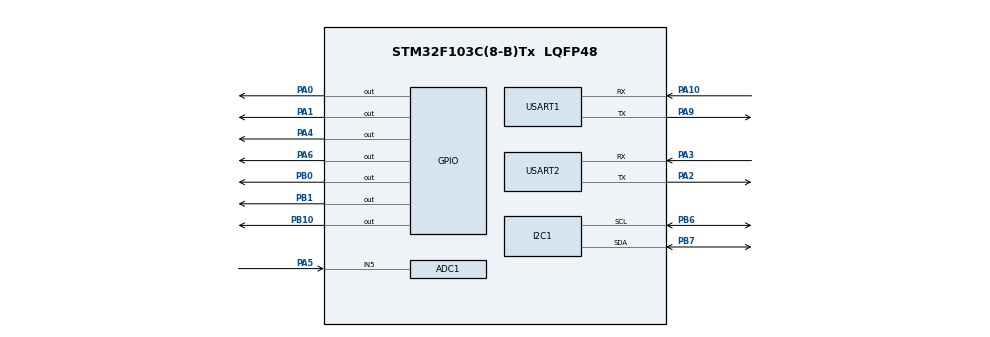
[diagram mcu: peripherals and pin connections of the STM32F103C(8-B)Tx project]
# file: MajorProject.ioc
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ADC1.Channel-0\#ChannelRegularConversion=ADC_CHANNEL_5
ADC1.NbrOfConversionFlag=1
ADC1.Rank-0\#ChannelRegularConversion=1
ADC1.SamplingTime-0\#ChannelRegularConversion=ADC_SAMPLETIME_1CYCLE_5
ADC1.master=1
Mcu.Family=STM32F1
Mcu.Name=STM32F103C(8-B)Tx
Mcu.Package=LQFP48
NVIC.PriorityGroup=NVIC_PRIORITYGROUP_4
PA0-WKUP.Signal=GPIO_Output
PA1.Signal=GPIO_Output
PA10.Mode=Asynchronous
PA10.Signal=USART1_RX
PA2.Mode=Asynchronous
PA2.Signal=USART2_TX
PA3.Mode=Asynchronous
PA3.Signal=USART2_RX
PA4.Signal=GPIO_Output
PA5.Signal=ADCx_IN5
PA6.Signal=GPIO_Output
PA9.Mode=Asynchronous
PA9.Signal=USART1_TX
PB0.Signal=GPIO_Output
PB1.Signal=GPIO_Output
PB10.Signal=GPIO_Output
PB6.Mode=I2C
PB6.Signal=I2C1_SCL
PB7.Mode=I2C
PB7.Signal=I2C1_SDA
ProjectManager.HeapSize=0x200
ProjectManager.StackSize=0x400
ProjectManager.TargetToolchain=STM32CubeIDE
RCC.APB1Freq_Value=8000000
RCC.APB2Freq_Value=8000000
SH.ADCx_IN5.0=ADC1_IN5,IN5
USART1.VirtualMode=VM_ASYNC
USART2.VirtualMode=VM_ASYNC
VP_SYS_VS_ND.Mode=No_Debug
board=custom

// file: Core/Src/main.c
/* USER CODE BEGIN Header */
/**
  ******************************************************************************
  * @file           : main.c
  * @brief          : Main program body
  ******************************************************************************
  * @attention
  *
  * Copyright (c) 2026 STMicroelectronics.
  * All rights reserved.
  *
  * This software is licensed under terms that can be found in the LICENSE file
  * in the root directory of this software component.
  * If no LICENSE file comes with this software, it is provided AS-IS.
  *
  ******************************************************************************
  */
/* USER CODE END Header */
#include "main.h"

/* USER CODE BEGIN Includes */
#include <stdio.h>
#include <string.h>
#include <stdlib.h>
#include <math.h>
/* USER CODE END Includes */

ADC_HandleTypeDef hadc1;

I2C_HandleTypeDef hi2c1;

UART_HandleTypeDef huart1;
UART_HandleTypeDef huart2;

/* USER CODE BEGIN PV */
char txbuf[512];
uint8_t gps_rx;
char gps_line[128];
uint8_t gps_idx = 0;
volatile uint8_t gps_line_ready = 0; // NEW: Flag for main loop

float lat = 0.0f;
float lon = 0.0f;

uint8_t started = 0;
float values[16];
float bmp_temp = 0.0f;
float bmp_press = 0.0f;

float ax=0, ay=0, az=0;
float gx=0, gy=0, gz=0;
/* USER CODE END PV */

void SystemClock_Config(void);
static void MX_GPIO_Init(void);
static void MX_ADC1_Init(void);
static void MX_USART1_UART_Init(void);
static void MX_USART2_UART_Init(void);
static void MX_I2C1_Init(void);

/* USER CODE BEGIN 0 */
void set_mux(uint8_t ch)
{
    HAL_GPIO_WritePin(GPIOA, GPIO_PIN_0, (ch & 1)?GPIO_PIN_SET:GPIO_PIN_RESET);
    HAL_GPIO_WritePin(GPIOA, GPIO_PIN_1, (ch & 2)?GPIO_PIN_SET:GPIO_PIN_RESET);
    HAL_GPIO_WritePin(GPIOA, GPIO_PIN_4, (ch & 4)?GPIO_PIN_SET:GPIO_PIN_RESET);
    HAL_GPIO_WritePin(GPIOA, GPIO_PIN_6, (ch & 8)?GPIO_PIN_SET:GPIO_PIN_RESET);
}

// SAFE GPS PARSER
void parse_gps(void)
{
    if (strncmp(gps_line, "$GPRMC", 6) == 0 || strncmp(gps_line, "GPRMC", 5) == 0)
    {
        int comma_count = 0;
        char *p = gps_line;
        char lats[16] = {0}, lons[16] = {0};
        char ns = 'N', ew = 'E';

        while (*p)
        {
            if (*p == ',')
            {
                comma_count++;
                p++;
                if (comma_count == 3)
                {
                    int i = 0;
                    while (*p != ',' && *p != '\0' && i < 15) lats[i++] = *p++;
                    lats[i] = '\0';
                    continue;
                }
                else if (comma_count == 4 && *p != ',') ns = *p;
                else if (comma_count == 5)
                {
                    int i = 0;
                    while (*p != ',' && *p != '\0' && i < 15) lons[i++] = *p++;
                    lons[i] = '\0';
                    continue;
                }
                else if (comma_count == 6 && *p != ',') ew = *p;
            }
            else
            {
                p++;
            }
        }

        if (strlen(lats) > 0 && strlen(lons) > 0)
        {
            float raw = atof(lats);
            int deg = (int)(raw / 100);
            float mins = raw - deg * 100;
            lat = deg + mins / 60.0f;
            if (ns == 'S') lat = -lat;

            raw = atof(lons);
            deg = (int)(raw / 100);
            mins = raw - deg * 100;
            lon = deg + mins / 60.0f;
            if (ew == 'W') lon = -lon;
        }
    }
}

#define BMP280_ADDR (0x76 << 1)
#define MPU6050_ADDR (0x68 << 1)

uint16_t dig_T1;
int16_t dig_T2, dig_T3;
uint16_t dig_P1;
int16_t dig_P2, dig_P3, dig_P4, dig_P5, dig_P6, dig_P7, dig_P8, dig_P9;
int32_t t_fine;

void BMP280_Init()
{
    uint8_t cal[24];

    HAL_I2C_Mem_Read(&hi2c1, BMP280_ADDR, 0x88, 1, cal, 24, 100);

    dig_T1 = cal[1]<<8 | cal[0];
    dig_T2 = cal[3]<<8 | cal[2];
    dig_T3 = cal[5]<<8 | cal[4];

    dig_P1 = cal[7]<<8 | cal[6];
    dig_P2 = cal[9]<<8 | cal[8];
    dig_P3 = cal[11]<<8 | cal[10];
    dig_P4 = cal[13]<<8 | cal[12];
    dig_P5 = cal[15]<<8 | cal[14];
    dig_P6 = cal[17]<<8 | cal[16];
    dig_P7 = cal[19]<<8 | cal[18];
    dig_P8 = cal[21]<<8 | cal[20];
    dig_P9 = cal[23]<<8 | cal[22];

    uint8_t ctrl = 0x27;
    HAL_I2C_Mem_Write(&hi2c1, BMP280_ADDR, 0xF4, 1, &ctrl, 1, 100);
}

void BMP280_ReadTempPress(float *temp, float *press)
{
    uint8_t d[6];

    HAL_I2C_Mem_Read(&hi2c1, BMP280_ADDR, 0xF7, 1, d, 6, 100);

    int32_t adc_P = ((d[0]<<12)|(d[1]<<4)|(d[2]>>4));
    int32_t adc_T = ((d[3]<<12)|(d[4]<<4)|(d[5]>>4));

    int32_t var1, var2;

    var1 = ((((adc_T>>3) - ((int32_t)dig_T1<<1))) * ((int32_t)dig_T2)) >> 11;
    var2 = (((((adc_T>>4) - ((int32_t)dig_T1)) *
             ((adc_T>>4) - ((int32_t)dig_T1))) >> 12) *
             ((int32_t)dig_T3)) >> 14;

    t_fine = var1 + var2;

    float T = (t_fine * 5 + 128) >> 8;
    *temp = T / 100.0f;

    int64_t pvar1, pvar2, p;

    pvar1 = ((int64_t)t_fine) - 128000;
    pvar2 = pvar1 * pvar1 * dig_P6;
    pvar2 += (pvar1 * dig_P5) << 17;
    pvar2 += ((int64_t)dig_P4) << 35;

    pvar1 = ((pvar1 * pvar1 * dig_P3) >> 8) +
            ((pvar1 * dig_P2) << 12);

    pvar1 = ((((int64_t)1 << 47) + pvar1)) * dig_P1 >> 33;

    if(pvar1 == 0)
    {
        *press = 0;
        return;
    }

    p = 1048576 - adc_P;
    p = (((p << 31) - pvar2) * 3125) / pvar1;

    pvar1 = (dig_P9 * (p >> 13) * (p >> 13)) >> 25;
    pvar2 = (dig_P8 * p) >> 19;

    p = ((p + pvar1 + pvar2) >> 8) + (((int64_t)dig_P7) << 4);

    *press = (float)p / 25600.0f;
}

void MPU6050_Init()
{
    uint8_t val = 0;
    HAL_I2C_Mem_Write(&hi2c1, MPU6050_ADDR, 0x6B, 1, &val, 1, 100);
}

void MPU6050_Read(float *ax,float *ay,float *az,float *gx,float *gy,float *gz)
{
    uint8_t d[14];

    HAL_I2C_Mem_Read(&hi2c1, MPU6050_ADDR, 0x3B, 1, d, 14, 100);

    int16_t raX = (d[0]<<8)|d[1];
    int16_t raY = (d[2]<<8)|d[3];
    int16_t raZ = (d[4]<<8)|d[5];

    int16_t rgX = (d[8]<<8)|d[9];
    int16_t rgY = (d[10]<<8)|d[11];
    int16_t rgZ = (d[12]<<8)|d[13];

    *ax = raX / 16384.0f;
    *ay = raY / 16384.0f;
    *az = raZ / 16384.0f;

    *gx = rgX / 131.0f;
    *gy = rgY / 131.0f;
    *gz = rgZ / 131.0f;
}
/* USER CODE END 0 */

int main(void)
{

  /* MCU Configuration--------------------------------------------------------*/

  /* Reset of all peripherals, Initializes the Flash interface and the Systick. */
  HAL_Init();

  /* Configure the system clock */
  SystemClock_Config();

  /* Initialize all configured peripherals */
  MX_GPIO_Init();
  MX_ADC1_Init();
  MX_USART1_UART_Init();
  MX_USART2_UART_Init();
  MX_I2C1_Init();
  /* USER CODE BEGIN 2 */
  MPU6050_Init();
  BMP280_Init();
  HAL_GPIO_WritePin(GPIOB,GPIO_PIN_0,GPIO_PIN_RESET);
  HAL_GPIO_WritePin(GPIOB,GPIO_PIN_1,GPIO_PIN_RESET);
  HAL_GPIO_WritePin(GPIOB,GPIO_PIN_10,GPIO_PIN_RESET);

  // START BACKGROUND GPS LISTENING
  HAL_UART_Receive_IT(&huart2, &gps_rx, 1);
  /* USER CODE END 2 */

  /* Infinite loop */
  /* USER CODE BEGIN WHILE */
  while (1)
  {
      if(started == 0)
      {
          HAL_GPIO_WritePin(GPIOB,GPIO_PIN_0,GPIO_PIN_SET); // Pump ON
          HAL_Delay(4000);

          HAL_GPIO_WritePin(GPIOB,GPIO_PIN_0,GPIO_PIN_RESET); // Pump OFF
          HAL_GPIO_WritePin(GPIOB,GPIO_PIN_1,GPIO_PIN_SET);   // Light ON
          HAL_GPIO_WritePin(GPIOB,GPIO_PIN_10,GPIO_PIN_SET);  // MUX ON

          started = 1;
      }
      BMP280_ReadTempPress(&bmp_temp,&bmp_press);
      MPU6050_Read(&ax,&ay,&az,&gx,&gy,&gz);

      // ONLY parse if interrupt says a full line is ready
      if (gps_line_ready == 1)
      {
          parse_gps();
          gps_line_ready = 0; // Reset flag
      }

      for(int ch=0; ch<16; ch++)
      {
          set_mux(ch);

          HAL_Delay(20);

          HAL_ADC_Start(&hadc1);
          HAL_ADC_PollForConversion(&hadc1,100);

          values[ch] = HAL_ADC_GetValue(&hadc1);
      }

      sprintf(txbuf,
      "T=%.2f,P=%.1f,AX=%.2f,AY=%.2f,AZ=%.2f,GX=%.2f,GY=%.2f,GZ=%.2f,LAT=%.6f,LON=%.6f,"
      "%.0f,%.0f,%.0f,%.0f,%.0f,%.0f,%.0f,%.0f,"
      "%.0f,%.0f,%.0f,%.0f,%.0f,%.0f,%.0f,%.0f\r\n",

      bmp_temp,bmp_press,
      ax,ay,az,gx,gy,gz,
      lat,lon,

      values[0],values[1],values[2],values[3],
      values[4],values[5],values[6],values[7],
      values[8],values[9],values[10],values[11],
      values[12],values[13],values[14],values[15]);

      HAL_UART_Transmit(&huart1,(uint8_t*)txbuf,strlen(txbuf),100);

      HAL_Delay(500);
  }
  /* USER CODE END 3 */
}

void SystemClock_Config(void)
{
  RCC_OscInitTypeDef RCC_OscInitStruct = {0};
  RCC_ClkInitTypeDef RCC_ClkInitStruct = {0};
  RCC_PeriphCLKInitTypeDef PeriphClkInit = {0};

  /** Initializes the RCC Oscillators according to the specified parameters
  * in the RCC_OscInitTypeDef structure.
  */
  RCC_OscInitStruct.OscillatorType = RCC_OSCILLATORTYPE_HSI;
  RCC_OscInitStruct.HSIState = RCC_HSI_ON;
  RCC_OscInitStruct.HSICalibrationValue = RCC_HSICALIBRATION_DEFAULT;
  RCC_OscInitStruct.PLL.PLLState = RCC_PLL_NONE;
  if (HAL_RCC_OscConfig(&RCC_OscInitStruct) != HAL_OK)
  {
    Error_Handler();
  }

  /** Initializes the CPU, AHB and APB buses clocks
  */
  RCC_ClkInitStruct.ClockType = RCC_CLOCKTYPE_HCLK|RCC_CLOCKTYPE_SYSCLK
                              |RCC_CLOCKTYPE_PCLK1|RCC_CLOCKTYPE_PCLK2;
  RCC_ClkInitStruct.SYSCLKSource = RCC_SYSCLKSOURCE_HSI;
  RCC_ClkInitStruct.AHBCLKDivider = RCC_SYSCLK_DIV1;
  RCC_ClkInitStruct.APB1CLKDivider = RCC_HCLK_DIV1;
  RCC_ClkInitStruct.APB2CLKDivider = RCC_HCLK_DIV1;

  if (HAL_RCC_ClockConfig(&RCC_ClkInitStruct, FLASH_LATENCY_0) != HAL_OK)
  {
    Error_Handler();
  }
  PeriphClkInit.PeriphClockSelection = RCC_PERIPHCLK_ADC;
  PeriphClkInit.AdcClockSelection = RCC_ADCPCLK2_DIV2;
  if (HAL_RCCEx_PeriphCLKConfig(&PeriphClkInit) != HAL_OK)
  {
    Error_Handler();
  }
}

static void MX_ADC1_Init(void)
{

  ADC_ChannelConfTypeDef sConfig = {0};

  /** Common config
  */
  hadc1.Instance = ADC1;
  hadc1.Init.ScanConvMode = ADC_SCAN_DISABLE;
  hadc1.Init.ContinuousConvMode = DISABLE;
  hadc1.Init.DiscontinuousConvMode = DISABLE;
  hadc1.Init.ExternalTrigConv = ADC_SOFTWARE_START;
  hadc1.Init.DataAlign = ADC_DATAALIGN_RIGHT;
  hadc1.Init.NbrOfConversion = 1;
  if (HAL_ADC_Init(&hadc1) != HAL_OK)
  {
    Error_Handler();
  }

  /** Configure Regular Channel
  */
  sConfig.Channel = ADC_CHANNEL_5;
  sConfig.Rank = ADC_REGULAR_RANK_1;
  sConfig.SamplingTime = ADC_SAMPLETIME_55CYCLES_5;
  if (HAL_ADC_ConfigChannel(&hadc1, &sConfig) != HAL_OK)
  {
    Error_Handler();
  }

}

static void MX_I2C1_Init(void)
{

  hi2c1.Instance = I2C1;
  hi2c1.Init.ClockSpeed = 100000;
  hi2c1.Init.DutyCycle = I2C_DUTYCYCLE_2;
  hi2c1.Init.OwnAddress1 = 0;
  hi2c1.Init.AddressingMode = I2C_ADDRESSINGMODE_7BIT;
  hi2c1.Init.DualAddressMode = I2C_DUALADDRESS_DISABLE;
  hi2c1.Init.OwnAddress2 = 0;
  hi2c1.Init.GeneralCallMode = I2C_GENERALCALL_DISABLE;
  hi2c1.Init.NoStretchMode = I2C_NOSTRETCH_DISABLE;
  if (HAL_I2C_Init(&hi2c1) != HAL_OK)
  {
    Error_Handler();
  }

}

static void MX_USART1_UART_Init(void)
{

  huart1.Instance = USART1;
  huart1.Init.BaudRate = 115200;
  huart1.Init.WordLength = UART_WORDLENGTH_8B;
  huart1.Init.StopBits = UART_STOPBITS_1;
  huart1.Init.Parity = UART_PARITY_NONE;
  huart1.Init.Mode = UART_MODE_TX_RX;
  huart1.Init.HwFlowCtl = UART_HWCONTROL_NONE;
  huart1.Init.OverSampling = UART_OVERSAMPLING_16;
  if (HAL_UART_Init(&huart1) != HAL_OK)
  {
    Error_Handler();
  }

}

static void MX_USART2_UART_Init(void)
{

  huart2.Instance = USART2;
  huart2.Init.BaudRate = 9600;
  huart2.Init.WordLength = UART_WORDLENGTH_8B;
  huart2.Init.StopBits = UART_STOPBITS_1;
  huart2.Init.Parity = UART_PARITY_NONE;
  huart2.Init.Mode = UART_MODE_TX_RX;
  huart2.Init.HwFlowCtl = UART_HWCONTROL_NONE;
  huart2.Init.OverSampling = UART_OVERSAMPLING_16;
  if (HAL_UART_Init(&huart2) != HAL_OK)
  {
    Error_Handler();
  }

}

static void MX_GPIO_Init(void)
{
  GPIO_InitTypeDef GPIO_InitStruct = {0};

  /* GPIO Ports Clock Enable */
  __HAL_RCC_GPIOA_CLK_ENABLE();
  __HAL_RCC_GPIOB_CLK_ENABLE();

  /*Configure GPIO pin Output Level */
  HAL_GPIO_WritePin(GPIOA, GPIO_PIN_0|GPIO_PIN_1|GPIO_PIN_4|GPIO_PIN_6, GPIO_PIN_RESET);

  /*Configure GPIO pin Output Level */
  HAL_GPIO_WritePin(GPIOB, GPIO_PIN_0|GPIO_PIN_1|GPIO_PIN_10, GPIO_PIN_RESET);

  /*Configure GPIO pins : PA0 PA1 PA4 PA6 */
  GPIO_InitStruct.Pin = GPIO_PIN_0|GPIO_PIN_1|GPIO_PIN_4|GPIO_PIN_6;
  GPIO_InitStruct.Mode = GPIO_MODE_OUTPUT_PP;
  GPIO_InitStruct.Pull = GPIO_NOPULL;
  GPIO_InitStruct.Speed = GPIO_SPEED_FREQ_LOW;
  HAL_GPIO_Init(GPIOA, &GPIO_InitStruct);

  /*Configure GPIO pins : PB0 PB1 PB10 */
  GPIO_InitStruct.Pin = GPIO_PIN_0|GPIO_PIN_1|GPIO_PIN_10;
  GPIO_InitStruct.Mode = GPIO_MODE_OUTPUT_PP;
  GPIO_InitStruct.Pull = GPIO_NOPULL;
  GPIO_InitStruct.Speed = GPIO_SPEED_FREQ_LOW;
  HAL_GPIO_Init(GPIOB, &GPIO_InitStruct);

}

/* USER CODE BEGIN 4 */
// GPS UART INTERRUPT CALLBACK
void HAL_UART_RxCpltCallback(UART_HandleTypeDef *huart)
{
    if (huart->Instance == USART2)
    {
        if (gps_rx == '\n')
        {
            gps_line[gps_idx] = '\0';
            gps_line_ready = 1;
            gps_idx = 0;
        }
        else
        {
            if (gps_idx < 127)
            {
                gps_line[gps_idx++] = gps_rx;
            }
        }
        HAL_UART_Receive_IT(&huart2, &gps_rx, 1);
    }
}
/* USER CODE END 4 */

void Error_Handler(void)
{
  __disable_irq();
  while (1)
  {
  }
}
